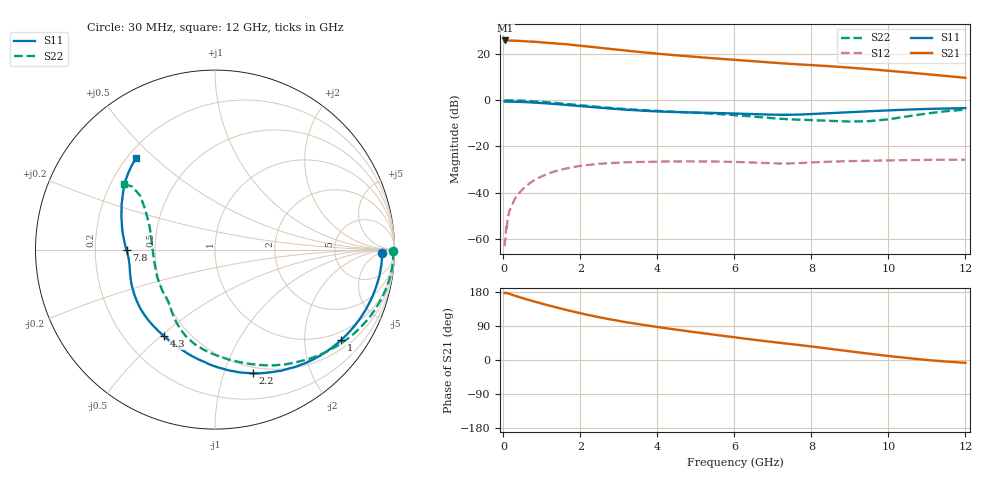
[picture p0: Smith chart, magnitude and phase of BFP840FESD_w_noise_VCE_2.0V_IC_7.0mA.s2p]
! Infineon Technologies  Discrete & RF Semiconductors
! BFP840FESD
! VCE =  2.0 V,  IC =  7.0 mA
! Common Emitter S-Parameters:  May 2012
# GHz  S  MA  R  50
!  f  S11  S21  S12  S22
! GHz  MAG  ANG  MAG  ANG  MAG  ANG  MAG  ANG
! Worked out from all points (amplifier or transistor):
!   103 points, 30 MHz to 12 GHz, reference 50 ohm
!   highest |S21| = 25.8 dB at 50 MHz (marker M1)
!   |S21| within 3 dB of that: start of sweep to 2.409 GHz
!   unconditionally stable (mu >= 1): 6.77 GHz to end of sweep
!   at 400 MHz: K = 0.09, MSG = 33.0 dB, |S12| = -40.4 dB
!   at 3.7 GHz: K = 0.43, MSG = 23.6 dB, |S12| = -26.6 dB
!   at 12 GHz: K = 1.20, MAG = 15.0 dB, |S12| = -25.7 dB
!   lowest NFmin = 0.59 dB at 450 MHz
!   S11 on the Smith chart (normalised r, x): 30 MHz: 26, -7; 1 GHz: 0.74, -2.96; 2.2 GHz: 0.44, -1.26; 4.3 GHz: 0.36, -0.51; 7.8 GHz: 0.34, -0.00; 12 GHz: 0.24, +0.44
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0.03  0.9321 -1.1  19.45 176.5  0.0007 64.6  0.9895 -0.6
0.04  0.9319 -1.5  19.44 176.3  0.0009 78.2  0.9911 -0.9
0.05  0.9308 -1.8  19.51 177.6  0.001 49.8  0.992 -1.1
0.15  0.9302 -5.5  19.38 174.6  0.004 81.4  0.9931 -4.3
0.4  0.9186 -14.7  19.1 166.4  0.0096 78.5  0.9804 -11.7
0.6  0.9043 -21.7  18.65 160.1  0.0142 74.7  0.9633 -17.4
0.8  0.8857 -28.8  18.33 154.4  0.0186 70.3  0.9427 -23.0
1  0.8657 -35.5  17.71 148.8  0.0226 66.2  0.9179 -28.4
1.6  0.7929 -55.4  16.3 132.9  0.033 53.5  0.833 -44.1
2.1  0.7328 -70.2  14.73 121.1  0.039 44.5  0.7618 -56.3
2.2  0.7211 -72.9  14.42 118.9  0.0399 42.8  0.7492 -58.6
2.7  0.6664 -85.9  12.99 108.6  0.0433 35.6  0.6884 -68.9
3.1  0.628 -95.5  12.03 101.3  0.0451 31.0  0.6491 -76.2
3.6  0.594 -106.2  10.88 93.2  0.0463 26.5  0.6097 -84.4
4.1  0.568 -116.5  9.949 85.7  0.047 22.9  0.5801 -91.6
4.3  0.5601 -120.6  9.623 82.8  0.0474 21.5  0.5691 -94.3
5.1  0.5378 -135.4  8.479 71.8  0.0474 17.3  0.5289 -104.2
6.1  0.5113 -152.3  7.349 58.6  0.0461 13.6  0.4688 -116.1
7.8  0.493 -179.6  5.854 38.1  0.0442 18.8  0.3762 -139.0
8.5  0.5252 169.1  5.396 29.3  0.0469 19.3  0.3566 -154.5
10.5  0.6263 143.4  3.975 5.2  0.0506 18.5  0.4471 150.2
12  0.6714 130.7  3.037 -7.5  0.0518 19.9  0.6246 144.2
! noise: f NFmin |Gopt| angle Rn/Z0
0.45  0.59  0.44  5  0.15
0.9  0.62  0.42  12  0.16
1.5  0.64  0.38  18  0.15
1.9  0.65  0.34  26  0.15
2.4  0.67  0.32  33  0.15
3.5  0.68  0.31  55  0.15
5.5  0.75  0.21  94  0.12
8  0.89  0.18  153  0.11
10  1.04  0.24  -145  0.11
12  1.25  0.41  -120  0.13
